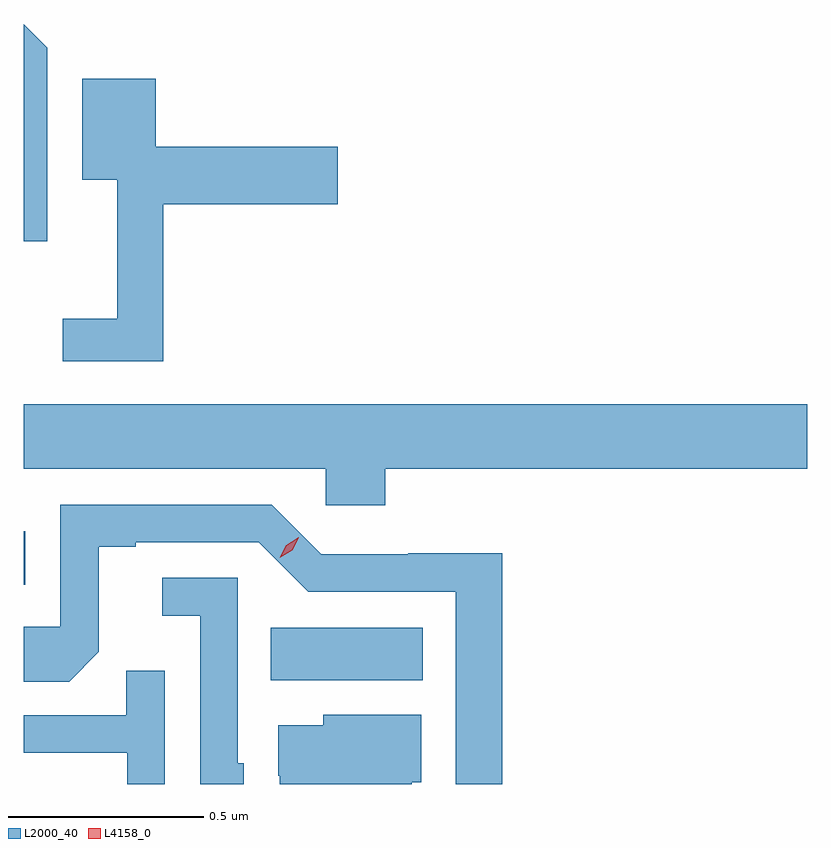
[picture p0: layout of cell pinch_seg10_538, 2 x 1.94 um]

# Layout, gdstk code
import gdstk
lib = gdstk.Library(unit=1e-6, precision=1e-09)
def R(c, l, rs):  # rectangles x0, y0, x1, y1
    for r in rs: c.add(gdstk.rectangle(r[:2], r[2:], *l))
def P(c, l, *ps):  # polygons
    for p in ps: c.add(gdstk.Polygon(p, *l))
L2000_40 = (2000, 40)
L4158_0 = (4158, 0)

pinch_seg10_538 = lib.new_cell('pinch_seg10_538')
R(pinch_seg10_538, L2000_40, [(218.62,1269.14,219.007,1269.274), (217.989,1269.384,217.993,1269.52)])
P(pinch_seg10_538, L2000_40, [(218.049,1270.755),(217.989,1270.815),(217.989,1270.26),(218.049,1270.26)],
  [(218.345,1270.355),(218.791,1270.355),(218.791,1270.502),(218.326,1270.502),(218.326,1270.675),(218.138,1270.675),(218.138,1270.418),(218.228,1270.418),(218.228,1270.063),(218.088,1270.063),(218.088,1269.954),(218.345,1269.954)],
  [(218.912,1269.68),(219.989,1269.68),(219.989,1269.844),(217.989,1269.844),(217.989,1269.68),(218.76,1269.68),(218.76,1269.587),(218.912,1269.587)],
  [(219.211,1269.464),(218.97,1269.464),(218.97,1269.462),(218.748,1269.462),(218.622,1269.588),(218.082,1269.588),(218.082,1269.276),(217.989,1269.276),(217.989,1269.136),(218.105,1269.136),(218.181,1269.212),(218.181,1269.48),(218.275,1269.48),(218.275,1269.492),(218.589,1269.492),(218.715,1269.366),(219.092,1269.366),(219.092,1268.875),(219.211,1268.875)],
  [(218.55,1268.928),(218.535,1268.928),(218.535,1269.402),(218.343,1269.402),(218.343,1269.305),(218.439,1269.305),(218.439,1268.875),(218.55,1268.875)],
  [(218.349,1269.164),(218.251,1269.164),(218.251,1269.051),(217.989,1269.051),(217.989,1268.955),(218.253,1268.955),(218.253,1268.875),(218.349,1268.875)],
  [(218.979,1268.88),(219.004,1268.88),(219.004,1269.052),(218.754,1269.052),(218.754,1269.025),(218.639,1269.025),(218.639,1268.896),(218.643,1268.896),(218.643,1268.875),(218.979,1268.875)])
P(pinch_seg10_538, L4158_0, [(218.642,1269.452),(218.642,1269.453),(218.659,1269.485),(218.691,1269.505),(218.691,1269.505),(218.691,1269.504),(218.674,1269.472),(218.642,1269.452)])

lib.write_gds('pinch_seg10_538.gds')
